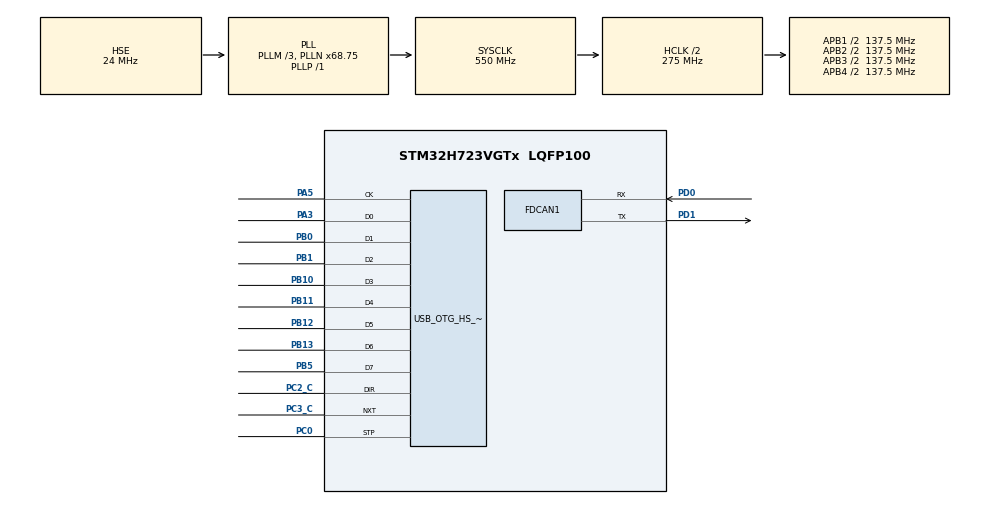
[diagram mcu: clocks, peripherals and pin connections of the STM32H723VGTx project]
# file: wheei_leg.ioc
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CORTEX_M7.AccessPermission_Spec=MPU_REGION_FULL_ACCESS
CORTEX_M7.BaseAddress_Spec=0x20000000
CORTEX_M7.CPU_DCache=Enabled
CORTEX_M7.CPU_ICache=Enabled
CORTEX_M7.DisableExec_Spec=MPU_INSTRUCTION_ACCESS_ENABLE
CORTEX_M7.IsShareable_Spec=MPU_ACCESS_NOT_SHAREABLE
CORTEX_M7.Size_Spec=MPU_REGION_SIZE_128KB
CORTEX_M7.SubRegionDisable_Spec=0
CORTEX_M7.TypeExtField_Spec=MPU_TEX_LEVEL1
CORTEX_M7.default_mode_Activation=1
FDCAN1.CalculateBaudRateNominal=3840000
FDCAN1.CalculateTimeBitNominal=260
FDCAN1.CalculateTimeQuantumNominal=52.08333333333333
FDCAN1.ExtFiltersNbr=1
FDCAN1.NominalPrescaler=5
FDCAN1.NominalTimeSeg1=3
FDCAN1.RxFifo0ElmtsNbr=16
FDCAN1.StdFiltersNbr=1
FDCAN1.TxFifoQueueElmtsNbr=4
FDCAN1.TxFifoQueueMode=FDCAN_TX_FIFO_OPERATION
FREERTOS.Tasks01=defaultTask,24,128,StartDefaultTask,Default,NULL,Dynamic,NULL,NULL
Mcu.Family=STM32H7
Mcu.Name=STM32H723VGTx
Mcu.Package=LQFP100
NVIC.FDCAN1_IT0_IRQn=true\:5\:0\:true\:false\:true\:true\:true\:true\:true
NVIC.FDCAN1_IT1_IRQn=true\:5\:0\:false\:false\:true\:true\:true\:true\:true
NVIC.OTG_HS_IRQn=true\:5\:0\:false\:false\:true\:true\:false\:true\:true
NVIC.PriorityGroup=NVIC_PRIORITYGROUP_4
NVIC.TIM2_IRQn=true\:15\:0\:false\:false\:true\:false\:false\:true\:true
NVIC.TIM8_UP_TIM13_IRQn=true\:5\:0\:false\:false\:true\:true\:true\:true\:true
NVIC.TimeBase=TIM2_IRQn
NVIC.TimeBaseIP=TIM2
PA3.Mode=Device_HS
PA3.Signal=USB_OTG_HS_ULPI_D0
PA5.Mode=Device_HS
PA5.Signal=USB_OTG_HS_ULPI_CK
PB0.Mode=Device_HS
PB0.Signal=USB_OTG_HS_ULPI_D1
PB1.Mode=Device_HS
PB1.Signal=USB_OTG_HS_ULPI_D2
PB10.Mode=Device_HS
PB10.Signal=USB_OTG_HS_ULPI_D3
PB11.Mode=Device_HS
PB11.Signal=USB_OTG_HS_ULPI_D4
PB12.Mode=Device_HS
PB12.Signal=USB_OTG_HS_ULPI_D5
PB13.Mode=Device_HS
PB13.Signal=USB_OTG_HS_ULPI_D6
PB5.Mode=Device_HS
PB5.Signal=USB_OTG_HS_ULPI_D7
PC0.Mode=Device_HS
PC0.Signal=USB_OTG_HS_ULPI_STP
PC2_C.Mode=Device_HS
PC2_C.Signal=USB_OTG_HS_ULPI_DIR
PC3_C.Mode=Device_HS
PC3_C.Signal=USB_OTG_HS_ULPI_NXT
PD0.Mode=FDCAN_Activate
PD0.Signal=FDCAN1_RX
PD1.Mode=FDCAN_Activate
PD1.Signal=FDCAN1_TX
PH0-OSC_IN.Mode=HSE-External-Oscillator
PH0-OSC_IN.Signal=RCC_OSC_IN
PH1-OSC_OUT.Mode=HSE-External-Oscillator
PH1-OSC_OUT.Signal=RCC_OSC_OUT
ProjectManager.HeapSize=0x200
ProjectManager.StackSize=0x400
ProjectManager.TargetToolchain=CMake
RCC.ADCFreq_Value=96000000
RCC.APB1Freq_Value=137500000
RCC.APB2Freq_Value=137500000
RCC.APB3Freq_Value=137500000
RCC.APB4Freq_Value=137500000
RCC.CortexFreq_Value=550000000
RCC.D1PPRE=RCC_APB3_DIV2
RCC.D2PPRE1=RCC_APB1_DIV2
RCC.D2PPRE2=RCC_APB2_DIV2
RCC.D3PPRE=RCC_APB4_DIV2
RCC.DIVM1=3
RCC.DIVM2=2
RCC.DIVM3=2
RCC.DIVN1=68
RCC.DIVN2=16
RCC.DIVN3=16
RCC.DIVP1=1
RCC.DIVQ1=4
RCC.FDCANCLockSelection=RCC_FDCANCLKSOURCE_PLL2
RCC.HCLKFreq_Value=275000000
RCC.HPRE=RCC_HCLK_DIV2
RCC.HSE_VALUE=24000000
RCC.PLL2FRACN=0
RCC.PLL3FRACN=0
RCC.PLLFRACN=6144
RCC.PLLSourceVirtual=RCC_PLLSOURCE_HSE
RCC.SYSCLKFreq_VALUE=550000000
RCC.SYSCLKSource=RCC_SYSCLKSOURCE_PLLCLK
RCC.USBCLockSelection=RCC_USBCLKSOURCE_HSI48
RCC.USBFreq_Value=48000000
TIM13.Period=999
TIM13.Prescaler=274
USB_DEVICE.CLASS_NAME_HS=CDC
USB_DEVICE.VirtualMode=Cdc
USB_DEVICE.VirtualModeHS=Cdc_HS
USB_OTG_HS.VirtualMode-Device_HS=Device_HS
VP_FREERTOS_VS_CMSIS_V2.Mode=CMSIS_V2
VP_MEMORYMAP_VS_MEMORYMAP.Mode=CurAppReg
VP_SYS_VS_tim2.Mode=TIM2
VP_TIM13_VS_ClockSourceINT.Mode=Enable_Timer
VP_USB_DEVICE_VS_USB_DEVICE_CDC_HS.Mode=CDC_HS
board=custom

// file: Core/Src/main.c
/* USER CODE BEGIN Header */
/**
  ******************************************************************************
  * @file           : main.c
  * @brief          : Main program body
  ******************************************************************************
  * @attention
  *
  * Copyright (c) 2026 STMicroelectronics.
  * All rights reserved.
  *
  * This software is licensed under terms that can be found in the LICENSE file
  * in the root directory of this software component.
  * If no LICENSE file comes with this software, it is provided AS-IS.
  *
  ******************************************************************************
  */
/* USER CODE END Header */
#include "main.h"
#include "FreeRTOS.h"
#include "cmsis_os2.h"
#include "fdcan.h"
#include "tim.h"
#include "usb_device.h"
#include "gpio.h"

/* USER CODE BEGIN Includes */
#include <stdint.h>
#include <stdio.h>
#include "../../task/task.h"
/* USER CODE END Includes */

void SystemClock_Config(void);
static void MPU_Config(void);
void MX_FREERTOS_Init(void);

/* USER CODE BEGIN 0 */

/* 标准帧（M2006 0x201/0x202）与扩展帧（RobStride）各配一个全通掩码过滤器。
   数量必须与 fdcan.c 的 StdFiltersNbr / ExtFiltersNbr 一致；两种 ID 类型的
   FilterIndex 彼此独立编号，都从 0 开始。 */
static void FDCAN_Filter_Init(FDCAN_HandleTypeDef *hfdcan)
{
  FDCAN_FilterTypeDef filter = {0};

  filter.IdType       = FDCAN_STANDARD_ID;
  filter.FilterIndex  = 0;
  filter.FilterType   = FDCAN_FILTER_MASK;
  filter.FilterID1    = 0x0000;
  filter.FilterID2    = 0x0000;   // 掩码全 0 = 全部接收
  filter.FilterConfig = FDCAN_FILTER_TO_RXFIFO0;
  if (HAL_FDCAN_ConfigFilter(hfdcan, &filter) != HAL_OK)
  {
    Error_Handler();
  }

  filter.IdType      = FDCAN_EXTENDED_ID;
  filter.FilterIndex = 0;
  if (HAL_FDCAN_ConfigFilter(hfdcan, &filter) != HAL_OK)
  {
    Error_Handler();
  }

  // 非匹配帧一律拒绝，远程帧按过滤器处理
  if (HAL_FDCAN_ConfigGlobalFilter(hfdcan, FDCAN_REJECT, FDCAN_REJECT,
                                   FDCAN_FILTER_REMOTE, FDCAN_FILTER_REMOTE) != HAL_OK)
  {
    Error_Handler();
  }
  HAL_FDCAN_ConfigFifoWatermark(hfdcan, FDCAN_CFG_RX_FIFO0, 1);
}
/* USER CODE END 0 */

int main(void)
{

  /* MPU Configuration--------------------------------------------------------*/
  MPU_Config();

  /* Enable the CPU Cache */

  /* Enable I-Cache---------------------------------------------------------*/
  SCB_EnableICache();

  /* Enable D-Cache---------------------------------------------------------*/
  SCB_EnableDCache();

  /* MCU Configuration--------------------------------------------------------*/

  /* Reset of all peripherals, Initializes the Flash interface and the Systick. */
  HAL_Init();

  /* Configure the system clock */
  SystemClock_Config();

  /* Initialize all configured peripherals */
  MX_GPIO_Init();
  MX_FDCAN1_Init();
  MX_TIM13_Init();
  /* USER CODE BEGIN 2 */
  FDCAN_Filter_Init(&hfdcan1);
  if (HAL_FDCAN_Start(&hfdcan1) != HAL_OK)
  {
    Error_Handler();
  }
  // 只开 FIFO0 新报文中断；TX 邮箱空中断在 H7 上不使能，避免中断风暴
  if (HAL_FDCAN_ActivateNotification(&hfdcan1, FDCAN_IT_RX_FIFO0_NEW_MESSAGE, 0) != HAL_OK)
  {
    Error_Handler();
  }

  /* 轮子不再做位置/速度环：固件只把上位机帧里的 torque [N*m] 换算成电流
     （见 task/task.c 的 wheel_control_task）。关节电机初始化
     （RobStrideInit / SetMode / Enable）放在调度器启动后的 motor_init_task 中，
     用 vTaskDelay 代替 HAL_Delay，不依赖 TIM2 时基。 */
  /* USER CODE END 2 */

  /* Init scheduler */
  osKernelInitialize();  /* Call init function for freertos objects (in cmsis_os2.c) */
  MX_FREERTOS_Init();

  /* Start scheduler */
  osKernelStart();

  /* We should never get here as control is now taken by the scheduler */

  /* Infinite loop */
  while (1)
  {

  }
}

void SystemClock_Config(void)
{
  RCC_OscInitTypeDef RCC_OscInitStruct = {0};
  RCC_ClkInitTypeDef RCC_ClkInitStruct = {0};

  /** Supply configuration update enable
  */
  HAL_PWREx_ConfigSupply(PWR_LDO_SUPPLY);

  /** Configure the main internal regulator output voltage
  */
  __HAL_PWR_VOLTAGESCALING_CONFIG(PWR_REGULATOR_VOLTAGE_SCALE0);

  while(!__HAL_PWR_GET_FLAG(PWR_FLAG_VOSRDY)) {}

  /** Initializes the RCC Oscillators according to the specified parameters
  * in the RCC_OscInitTypeDef structure.
  */
  RCC_OscInitStruct.OscillatorType = RCC_OSCILLATORTYPE_HSI48|RCC_OSCILLATORTYPE_HSE;
  RCC_OscInitStruct.HSEState = RCC_HSE_ON;
  RCC_OscInitStruct.HSI48State = RCC_HSI48_ON;
  RCC_OscInitStruct.PLL.PLLState = RCC_PLL_ON;
  RCC_OscInitStruct.PLL.PLLSource = RCC_PLLSOURCE_HSE;
  RCC_OscInitStruct.PLL.PLLM = 3;
  RCC_OscInitStruct.PLL.PLLN = 68;
  RCC_OscInitStruct.PLL.PLLP = 1;
  RCC_OscInitStruct.PLL.PLLQ = 4;
  RCC_OscInitStruct.PLL.PLLR = 2;
  RCC_OscInitStruct.PLL.PLLRGE = RCC_PLL1VCIRANGE_3;
  RCC_OscInitStruct.PLL.PLLVCOSEL = RCC_PLL1VCOWIDE;
  RCC_OscInitStruct.PLL.PLLFRACN = 6144;
  if (HAL_RCC_OscConfig(&RCC_OscInitStruct) != HAL_OK)
  {
    Error_Handler();
  }

  /** Initializes the CPU, AHB and APB buses clocks
  */
  RCC_ClkInitStruct.ClockType = RCC_CLOCKTYPE_HCLK|RCC_CLOCKTYPE_SYSCLK
                              |RCC_CLOCKTYPE_PCLK1|RCC_CLOCKTYPE_PCLK2
                              |RCC_CLOCKTYPE_D3PCLK1|RCC_CLOCKTYPE_D1PCLK1;
  RCC_ClkInitStruct.SYSCLKSource = RCC_SYSCLKSOURCE_PLLCLK;
  RCC_ClkInitStruct.SYSCLKDivider = RCC_SYSCLK_DIV1;
  RCC_ClkInitStruct.AHBCLKDivider = RCC_HCLK_DIV2;
  RCC_ClkInitStruct.APB3CLKDivider = RCC_APB3_DIV2;
  RCC_ClkInitStruct.APB1CLKDivider = RCC_APB1_DIV2;
  RCC_ClkInitStruct.APB2CLKDivider = RCC_APB2_DIV2;
  RCC_ClkInitStruct.APB4CLKDivider = RCC_APB4_DIV2;

  if (HAL_RCC_ClockConfig(&RCC_ClkInitStruct, FLASH_LATENCY_3) != HAL_OK)
  {
    Error_Handler();
  }
}

 /* MPU Configuration */

void MPU_Config(void)
{
  MPU_Region_InitTypeDef MPU_InitStruct = {0};

  /* Disables the MPU */
  HAL_MPU_Disable();

  /** Initializes and configures the Region and the memory to be protected
  */
  MPU_InitStruct.Enable = MPU_REGION_ENABLE;
  MPU_InitStruct.Number = MPU_REGION_NUMBER0;
  MPU_InitStruct.BaseAddress = 0x20000000;
  MPU_InitStruct.Size = MPU_REGION_SIZE_128KB;
  MPU_InitStruct.SubRegionDisable = 0;
  MPU_InitStruct.TypeExtField = MPU_TEX_LEVEL1;
  MPU_InitStruct.AccessPermission = MPU_REGION_FULL_ACCESS;
  MPU_InitStruct.DisableExec = MPU_INSTRUCTION_ACCESS_ENABLE;
  MPU_InitStruct.IsShareable = MPU_ACCESS_NOT_SHAREABLE;
  MPU_InitStruct.IsCacheable = MPU_ACCESS_NOT_CACHEABLE;
  MPU_InitStruct.IsBufferable = MPU_ACCESS_NOT_BUFFERABLE;

  HAL_MPU_ConfigRegion(&MPU_InitStruct);
  /* Enables the MPU */
  HAL_MPU_Enable(MPU_PRIVILEGED_DEFAULT);

}

void HAL_TIM_PeriodElapsedCallback(TIM_HandleTypeDef *htim)
{
  if (htim->Instance == TIM2)
  {
    HAL_IncTick();
  }
}

void Error_Handler(void)
{
  __disable_irq();
  while (1)
  {
  }
}

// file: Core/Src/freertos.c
/* USER CODE BEGIN Header */
/**
  ******************************************************************************
  * File Name          : freertos.c
  * Description        : Code for freertos applications
  ******************************************************************************
  * @attention
  *
  * Copyright (c) 2026 STMicroelectronics.
  * All rights reserved.
  *
  * This software is licensed under terms that can be found in the LICENSE file
  * in the root directory of this software component.
  * If no LICENSE file comes with this software, it is provided AS-IS.
  *
  ******************************************************************************
  */
/* USER CODE END Header */

#include "FreeRTOS.h"
#include "task.h"
#include "main.h"
#include "FreeRTOS.h"
#include "cmsis_os2.h"

/* Definitions for defaultTask */
osThreadId_t defaultTaskHandle;
const osThreadAttr_t defaultTask_attributes = {
  .name = "defaultTask",
  .stack_size = 128 * 4,
  .priority = (osPriority_t) osPriorityNormal,
};

void StartDefaultTask(void *argument);

extern void MX_USB_DEVICE_Init(void);
void MX_FREERTOS_Init(void); /* (MISRA C 2004 rule 8.1) */

void MX_FREERTOS_Init(void) {

  /* Create the thread(s) */
  /* creation of defaultTask */
  defaultTaskHandle = osThreadNew(StartDefaultTask, NULL, &defaultTask_attributes);

}

void StartDefaultTask(void *argument)
{
  /* init code for USB_DEVICE */
  MX_USB_DEVICE_Init();
  /* USER CODE BEGIN StartDefaultTask */
  task_init();
  vTaskDelete(NULL);
  /* Infinite loop */
  for(;;)
  {
    osDelay(1);
  }
  /* USER CODE END StartDefaultTask */
}
